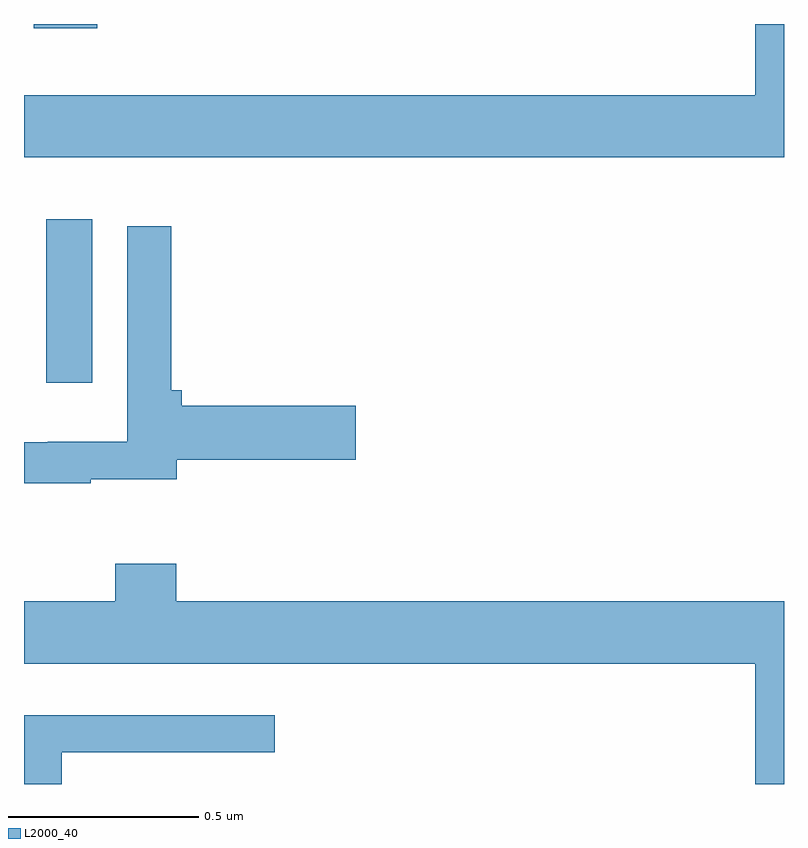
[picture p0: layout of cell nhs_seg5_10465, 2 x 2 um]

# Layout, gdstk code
import gdstk
lib = gdstk.Library(unit=1e-6, precision=1e-09)
def R(c, l, rs):  # rectangles x0, y0, x1, y1
    for r in rs: c.add(gdstk.rectangle(r[:2], r[2:], *l))
def P(c, l, *ps):  # polygons
    for p in ps: c.add(gdstk.Polygon(p, *l))
L2000_40 = (2000, 40)

nhs_seg5_10465 = lib.new_cell('nhs_seg5_10465')
R(nhs_seg5_10465, L2000_40, [(247.058,834.855,247.18,835.285), (247.025,835.788,247.193,835.799)])
P(nhs_seg5_10465, L2000_40, [(249,835.799),(248.924,835.799),(248.924,835.612),(247,835.612),(247,835.448),(249,835.448)],
  [(247.175,834.601),(247.402,834.601),(247.402,834.652),(247.873,834.652),(247.873,834.794),(247.415,834.794),(247.415,834.835),(247.388,834.835),(247.388,835.267),(247.272,835.267),(247.272,834.7),(247.062,834.7),(247.062,834.699),(247,834.699),(247,834.591),(247.175,834.591)],
  [(249,834.28),(247.4,834.28),(247.4,834.379),(247.24,834.379),(247.24,834.28),(247,834.28),(247,834.116),(248.924,834.116),(248.924,833.799),(249,833.799)],
  [(247.099,833.883),(247.66,833.883),(247.66,833.98),(247,833.98),(247,833.799),(247.099,833.799)])

lib.write_gds('nhs_seg5_10465.gds')
